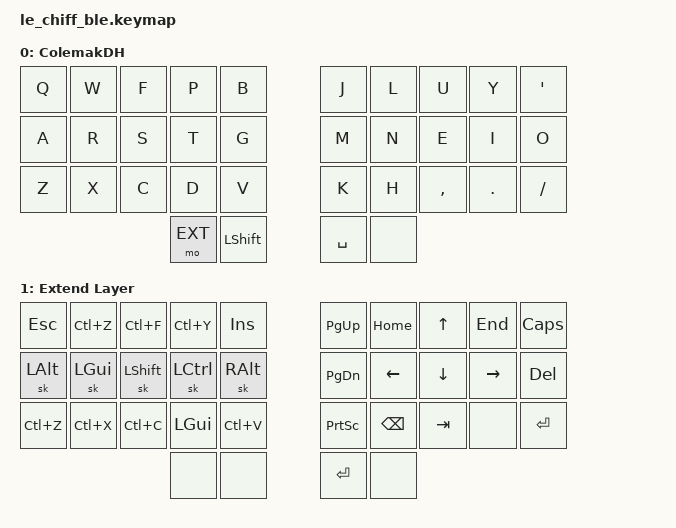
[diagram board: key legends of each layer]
/*
 * Copyright (c) 2021 @moritz-john
 *
 * SPDX-License-Identifier: MIT
 */

#include <behaviors.dtsi>
#include <dt-bindings/zmk/keys.h>
#include <dt-bindings/zmk/bt.h>
#include <dt-bindings/zmk/outputs.h>

#define BASE 0
#define EXT 1
#define FUN 2
#define SYM 3






/ {
	
	keymap {
		compatible = "zmk,keymap";

//	►►	𝟬 𝗕𝗮𝘀𝗲 - ColemakDH
//		╔═════════════════════════════╗     ╔═════════════════════════════╗
//		║  Q  |  W  |  F  |  P  |  B  ║     ║  J  |  L  |  U  |  Y  |  '  ║
//		║  A  |  R  |  S  |  T  |  G  ║ ___ ║  M  |  N  |  E  |  I  |  O  ║
//		║  Z  |  X  |  C  |  D  |  V  ║     ║  K  |  H  |  ,  |  .  |  /  ║
//		╚═════════╗   Ext   |  Shift  ║     ║  Space  |   Sym   ╔═════════╝
//		          ╚═══════════════════╝     ╚═══════════════════╝
//
		base { 	
			label = "ColemakDH";

			bindings = <
			&kp Q	&kp W	&kp F	&kp P   &kp B						&kp J	&kp L	&kp U		&kp Y	&kp SQT
			&kp A	&kp R	&kp S	&kp T	&kp	G						&kp M	&kp N	&kp E		&kp I	&kp O
			&kp Z	&kp X	&kp C	&kp D   &kp V						&kp K	&kp H	&kp COMMA	&kp DOT	&kp FSLH
									&mo EXT	&kp LEFT_SHIFT				&kp SPACE	&none
			>;
		};

//	►►	𝟭 Extend Layer
//		╔═════════════════════════════╗     ╔═════════════════════════════╗
//		║ Esc | Bk  | Fnd | Fw  | Ins ║     ║ PGUP| HOME|  ↑  | END | UDO ║
//		║ ALT | WIN | SHFT| CTRL| RA  ║ ___ ║ PGDO|  ←  |  ↓  |  →  | Del ║
//		║ C-Z | C-X | C-C | WIN | C-V ║     ║ Prt | Bksp| Tab |     | Ret ║
//		╚═════════╗  XXXXX  |         ║     ║  Return |         ╔═════════╝
//		          ╚═══════════════════╝     ╚═══════════════════╝
		extend {
			label = "Extend Layer";

			bindings = <
			&kp ESC		&kp LC(Z)	&kp LC(F)	&kp LC(Y)	&kp	INS				&kp PG_UP 	&kp HOME	&kp UP		&kp END		&kp CAPS
			&sk LALT	&sk LGUI	&sk LSHFT	&sk LCTRL	&sk RIGHT_ALT		&kp PG_DN	&kp LEFT	&kp DOWN	&kp RIGHT	&kp DEL
			&kp LC(Z)	&kp LC(X)	&kp LC(C)	&kp LGUI	&kp LC(V)			&kp PSCRN	&kp BSPC	&kp TAB		&none		&kp RET
												&none		&none				&kp RET		&none
			>;
		};

// //	►►	𝟮 Function Layer
// //		╔═════════════════════════════╗     ╔═════════════════════════════╗
// //		║ STP | <<  | >/p | >>  |     ║     ║ F12 | F7  | F8  | F9  | C+  ║
// //		║ ALT | WIN | SHFT| CTRL|     ║ ___ ║ F11 | F4  | F5  | F6  | C-  ║
// //		║ Mute| --  | CS-C| ++  | CS-V║     ║ F10 | F1  | F2  | F3  | C0  ║
// //		╚═════════╗  XXXXX  |         ║     ║         |  XXXXX  ╔═════════╝
// //		          ╚═══════════════════╝     ╚═══════════════════╝
// 		functions {
// 			label = "Functions";

// 			bindings = <
// 			&kp COMMA	&kp N7	&kp N8	&kp N9		&kp DOT				&kp RBRC	&none		&none		&none		&none
// 			&kp SEMI	&kp N4	&kp N5	&kp N6		&kp EQL				&kp RPAR	&kp RSHFT	&kp RCTRL	&kp LALT	&kp LGUI
// 			&kp GRAVE	&kp N1	&kp N2	&kp N3		&kp BSLH			&kp RBKT	&none		&none		&none		&none
// 										&kp MINUS	&kp N0				&none		&none
// 			>;
// 		};

// //	►►	𝟯 𝗦𝘆𝗺𝗯𝗼𝗹𝘀 
// //		╔═════════════════════════════╗     ╔═════════════════════════════╗
// //		║  !  |  @  |  #  |  :  |  ;  ║     ║  =  |  7  |  8  |  9  |  +  ║
// //		║  \  |  |  |  {  |  (  |  [  ║ ___ ║  *  |  4  |  5  |  6  |  -  ║
// //		║  -  |  _  |  }  |  )  |  ]  ║     ║  0  |  1  |  2  |  3  |  /  ║
// //		╚═════════╗    _    |         ║     ║         |  XXXXX  ╔═════════╝
// //		          ╚═══════════════════╝     ╚═══════════════════╝
// 		symbols {
// 			label = "Symbols Layer";

// 			bindings = <
// 			&kp LBRC	&kp AMPS	&kp ASTRK	&kp LPAR	&kp RBRC			&none	&none	&none	&reset		&none
// 			&kp COLON	&kp DLLR	&kp PRCT	&kp CRRT	&kp PLUS			&none	&none	&none	&reset		&none
// 			&kp TILDE	&kp EXCL	&kp AT		&kp HASH	&kp PIPE			&none	&none	&none	&reset		&none
// 												&kp UNDER		&none				&none	&none		
// 			>;
// 		};
	};
};


//╔═════════════════════════════╗      ╔═════════════════════════════╗
//║  0  |  1  |  2  |  3  |  4  ║      ║  5  |  6  |  7  |  8  |  9  ║
//║ 10  | 11  | 12  | 13  | 14  ║      ║ 15  | 16  | 17  | 18  | 19  ║
//║ 20  | 21  | 22  | 23  | 24  ║      ║ 25  | 26  | 27  | 28  | 39  ║
//╚═════════════╗  30   |  31   ║      ║  32   |  33   ╔═════════════╝
//              ╚═══════════════╝      ╚═══════════════╝





